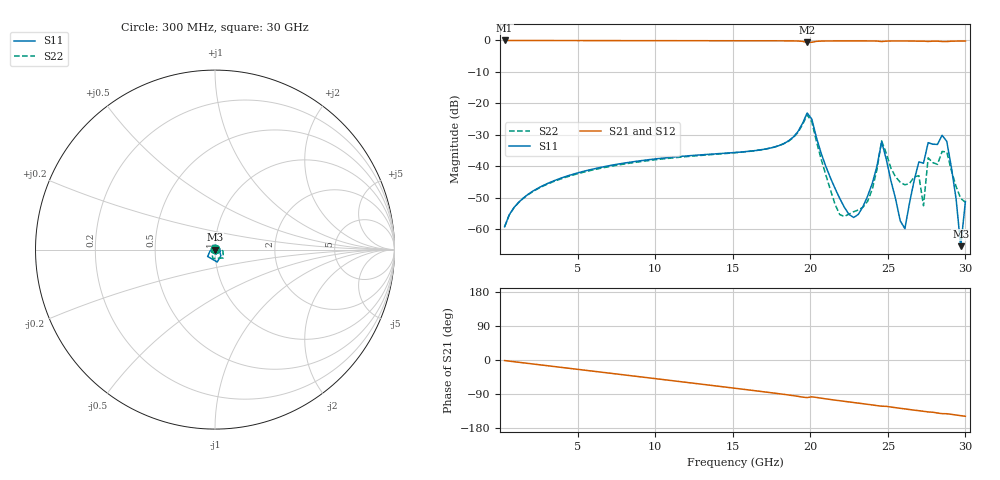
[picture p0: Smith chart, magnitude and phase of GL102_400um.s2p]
! Created Wed Apr 21 13:18:40 2021
! List of port names and net name(s): example Port n = <port_name> <net_name1> <net_name2> ...
! Port 1 = P1 P2 gnd!
! Port 2 = P2 P2 P4
# hz S ri R 50
! 2 Port Network Data from data block
! freq  reS11  imS11  reS21  imS21  reS12  imS12  reS22  imS22
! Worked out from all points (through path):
!   100 points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, 300 MHz to 30 GHz, reference 50 ohm
!   highest |S21| = -0.01 dB at 300 MHz (marker M1); lowest = -0.6 dB at 19.8 GHz (marker M2)
!   group delay of S21, straight-line fit = 13.7 ps
!   lowest |S11| = -65.5 dB at 29.7 GHz (marker M3), VSWR 1.00, Z = 50 + j0.0531 ohm
!   |S11| at or under -10 dB: start of sweep to end of sweep
!   |S22| runs from -59.3 to -23.7 dB; largest |S21 - S12| = 0
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3e8  0.000645 0.000876  0.9988 -0.0265  0.9988 -0.0265  0.00064 0.000878
1.8e9  0.00192 0.00298  0.9854 -0.1547  0.9854 -0.1547  0.00176 0.00302
5.4e9  0.00565 0.00606  0.8897 -0.4447  0.8897 -0.4447  0.0044 0.00672
1.02e10  0.012 0.00551  0.6362 -0.7605  0.6362 -0.7605  0.00901 0.00909
1.53e10  0.0166 -0.000634  0.2505 -0.9561  0.2505 -0.9561  0.0142 0.00837
1.83e10  0.0214 -0.00817  -0.011 -0.9852  -0.011 -0.9852  0.0218 0.00643
1.98e10  0.0123 -0.069  -0.1491 -0.9176  -0.1491 -0.9176  0.046 -0.0465
2.01e10  -0.0411 -0.0384  -0.1166 -0.9279  -0.1166 -0.9279  -0.0125 -0.0493
2.19e10  -0.00306 0.000247  -0.2952 -0.9372  -0.2952 -0.9372  -0.0013 0.00109
2.31e10  -0.00106 0.00134  -0.3966 -0.899  -0.3966 -0.899  -0.000171 0.002
2.4e10  -0.000914 0.00525  -0.4701 -0.8612  -0.4701 -0.8612  -0.00317 0.00291
2.46e10  0.0186 0.016  -0.5063 -0.8149  -0.5063 -0.8149  -0.00731 0.0242
2.52e10  0.00392 -0.00436  -0.5497 -0.8112  -0.5497 -0.8112  0.00808 0.00452
2.61e10  0.000542 0.000857  -0.6176 -0.761  -0.6176 -0.761  0.00354 0.0036
2.7e10  0.00279 0.0113  -0.6725 -0.7027  -0.6725 -0.7027  0.00683 0.0017
2.73e10  0.00492 0.01  -0.6937 -0.6856  -0.6937 -0.6856  0.0016 0.00171
2.76e10  0.00935 0.0217  -0.7055 -0.6556  -0.7055 -0.6556  0.0109 0.00797
2.82e10  0.022 0.00326  -0.7443 -0.6277  -0.7443 -0.6277  -0.00676 -0.00825
2.85e10  0.0298 -0.0084  -0.7538 -0.5972  -0.7538 -0.5972  -0.0171 -0.000487
2.91e10  -0.00294 -0.00901  -0.7815 -0.5799  -0.7815 -0.5799  0.00148 0.00834
2.97e10  -4.56e-05 0.000531  -0.8185 -0.5343  -0.8185 -0.5343  -0.000271 0.00305
3e10  0.00126 0.00243  -0.8336 -0.5109  -0.8336 -0.5109  -0.00145 0.00224
